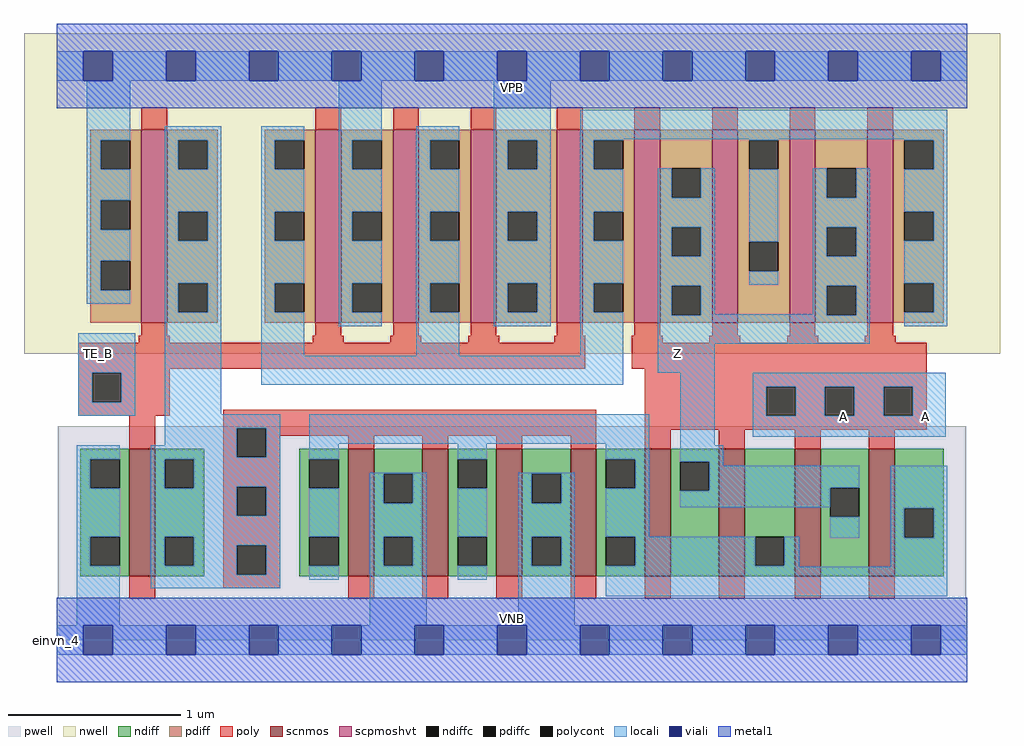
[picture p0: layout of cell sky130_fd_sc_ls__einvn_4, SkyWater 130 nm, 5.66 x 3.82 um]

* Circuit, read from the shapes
.subckt sky130_fd_sc_ls__einvn_4 A TE_B VGND VNB VPB VPWR Z
XM1 n1 TE_B VGND VNB sky130_fd_pr__nfet_01v8 w=0.74 l=0.15
XM2 VGND n1 n2 VNB sky130_fd_pr__nfet_01v8 w=0.74 l=0.15 m=4
XM3 Z A n2 VNB sky130_fd_pr__nfet_01v8 w=0.74 l=0.15 m=4
XM4 n1 TE_B VPWR VPB sky130_fd_pr__pfet_01v8_hvt w=1.12 l=0.15
XM5 VPWR TE_B n3 VPB sky130_fd_pr__pfet_01v8_hvt w=1.12 l=0.15 m=4
XM6 Z A n3 VPB sky130_fd_pr__pfet_01v8_hvt w=1.12 l=0.15 m=4
.ends

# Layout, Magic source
magic
tech sky130A
magscale 1 2
<< nwell >>
rect -38 332 1094 704
<< pwell >>
rect 1 49 1055 248
rect 0 0 1056 49
<< scnmos >>
rect 84 74 114 222
rect 338 74 368 222
rect 424 74 454 222
rect 510 74 540 222
rect 596 74 626 222
rect 682 74 712 222
rect 768 74 798 222
rect 856 74 886 222
rect 942 74 972 222
<< scpmoshvt >>
rect 98 368 128 592
rect 300 368 330 592
rect 390 368 420 592
rect 480 368 510 592
rect 580 368 610 592
rect 670 368 700 592
rect 760 368 790 592
rect 850 368 880 592
rect 940 368 970 592
<< ndiff >>
rect 27 210 84 222
rect 27 176 39 210
rect 73 176 84 210
rect 27 120 84 176
rect 27 86 39 120
rect 73 86 84 120
rect 27 74 84 86
rect 114 210 171 222
rect 114 176 125 210
rect 159 176 171 210
rect 114 120 171 176
rect 114 86 125 120
rect 159 86 171 120
rect 114 74 171 86
rect 281 210 338 222
rect 281 176 293 210
rect 327 176 338 210
rect 281 120 338 176
rect 281 86 293 120
rect 327 86 338 120
rect 281 74 338 86
rect 368 193 424 222
rect 368 159 379 193
rect 413 159 424 193
rect 368 120 424 159
rect 368 86 379 120
rect 413 86 424 120
rect 368 74 424 86
rect 454 210 510 222
rect 454 176 465 210
rect 499 176 510 210
rect 454 120 510 176
rect 454 86 465 120
rect 499 86 510 120
rect 454 74 510 86
rect 540 193 596 222
rect 540 159 551 193
rect 585 159 596 193
rect 540 120 596 159
rect 540 86 551 120
rect 585 86 596 120
rect 540 74 596 86
rect 626 210 682 222
rect 626 176 637 210
rect 671 176 682 210
rect 626 120 682 176
rect 626 86 637 120
rect 671 86 682 120
rect 626 74 682 86
rect 712 207 768 222
rect 712 173 723 207
rect 757 173 768 207
rect 712 74 768 173
rect 798 120 856 222
rect 798 86 810 120
rect 844 86 856 120
rect 798 74 856 86
rect 886 177 942 222
rect 886 143 897 177
rect 931 143 942 177
rect 886 74 942 143
rect 972 153 1029 222
rect 972 119 983 153
rect 1017 119 1029 153
rect 972 74 1029 119
<< pdiff >>
rect 39 580 98 592
rect 39 546 51 580
rect 85 546 98 580
rect 39 510 98 546
rect 39 476 51 510
rect 85 476 98 510
rect 39 440 98 476
rect 39 406 51 440
rect 85 406 98 440
rect 39 368 98 406
rect 128 580 187 592
rect 128 546 141 580
rect 175 546 187 580
rect 128 497 187 546
rect 128 463 141 497
rect 175 463 187 497
rect 128 414 187 463
rect 128 380 141 414
rect 175 380 187 414
rect 128 368 187 380
rect 241 580 300 592
rect 241 546 253 580
rect 287 546 300 580
rect 241 497 300 546
rect 241 463 253 497
rect 287 463 300 497
rect 241 414 300 463
rect 241 380 253 414
rect 287 380 300 414
rect 241 368 300 380
rect 330 580 390 592
rect 330 546 343 580
rect 377 546 390 580
rect 330 497 390 546
rect 330 463 343 497
rect 377 463 390 497
rect 330 414 390 463
rect 330 380 343 414
rect 377 380 390 414
rect 330 368 390 380
rect 420 580 480 592
rect 420 546 433 580
rect 467 546 480 580
rect 420 497 480 546
rect 420 463 433 497
rect 467 463 480 497
rect 420 414 480 463
rect 420 380 433 414
rect 467 380 480 414
rect 420 368 480 380
rect 510 580 580 592
rect 510 546 523 580
rect 557 546 580 580
rect 510 497 580 546
rect 510 463 523 497
rect 557 463 580 497
rect 510 414 580 463
rect 510 380 523 414
rect 557 380 580 414
rect 510 368 580 380
rect 610 580 670 592
rect 610 546 623 580
rect 657 546 670 580
rect 610 497 670 546
rect 610 463 623 497
rect 657 463 670 497
rect 610 414 670 463
rect 610 380 623 414
rect 657 380 670 414
rect 610 368 670 380
rect 700 547 760 592
rect 700 513 713 547
rect 747 513 760 547
rect 700 479 760 513
rect 700 445 713 479
rect 747 445 760 479
rect 700 411 760 445
rect 700 377 713 411
rect 747 377 760 411
rect 700 368 760 377
rect 790 580 850 592
rect 790 546 803 580
rect 837 546 850 580
rect 790 462 850 546
rect 790 428 803 462
rect 837 428 850 462
rect 790 368 850 428
rect 880 547 940 592
rect 880 513 893 547
rect 927 513 940 547
rect 880 479 940 513
rect 880 445 893 479
rect 927 445 940 479
rect 880 411 940 445
rect 880 377 893 411
rect 927 377 940 411
rect 880 368 940 377
rect 970 580 1029 592
rect 970 546 983 580
rect 1017 546 1029 580
rect 970 497 1029 546
rect 970 463 983 497
rect 1017 463 1029 497
rect 970 414 1029 463
rect 970 380 983 414
rect 1017 380 1029 414
rect 970 368 1029 380
<< ndiffc >>
rect 39 176 73 210
rect 39 86 73 120
rect 125 176 159 210
rect 125 86 159 120
rect 293 176 327 210
rect 293 86 327 120
rect 379 159 413 193
rect 379 86 413 120
rect 465 176 499 210
rect 465 86 499 120
rect 551 159 585 193
rect 551 86 585 120
rect 637 176 671 210
rect 637 86 671 120
rect 723 173 757 207
rect 810 86 844 120
rect 897 143 931 177
rect 983 119 1017 153
<< pdiffc >>
rect 51 546 85 580
rect 51 476 85 510
rect 51 406 85 440
rect 141 546 175 580
rect 141 463 175 497
rect 141 380 175 414
rect 253 546 287 580
rect 253 463 287 497
rect 253 380 287 414
rect 343 546 377 580
rect 343 463 377 497
rect 343 380 377 414
rect 433 546 467 580
rect 433 463 467 497
rect 433 380 467 414
rect 523 546 557 580
rect 523 463 557 497
rect 523 380 557 414
rect 623 546 657 580
rect 623 463 657 497
rect 623 380 657 414
rect 713 513 747 547
rect 713 445 747 479
rect 713 377 747 411
rect 803 546 837 580
rect 803 428 837 462
rect 893 513 927 547
rect 893 445 927 479
rect 893 377 927 411
rect 983 546 1017 580
rect 983 463 1017 497
rect 983 380 1017 414
<< poly >>
rect 98 592 128 618
rect 300 592 330 618
rect 390 592 420 618
rect 480 592 510 618
rect 580 592 610 618
rect 670 592 700 618
rect 760 592 790 618
rect 850 592 880 618
rect 940 592 970 618
rect 98 353 128 368
rect 300 353 330 368
rect 390 353 420 368
rect 480 353 510 368
rect 580 353 610 368
rect 670 353 700 368
rect 760 353 790 368
rect 850 353 880 368
rect 940 353 970 368
rect 95 345 131 353
rect 297 345 333 353
rect 387 345 423 353
rect 477 345 513 353
rect 577 345 613 353
rect 25 315 613 345
rect 667 345 703 353
rect 757 345 793 353
rect 847 345 883 353
rect 937 345 973 353
rect 667 315 1009 345
rect 25 310 131 315
rect 25 276 41 310
rect 75 276 131 310
rect 25 260 131 276
rect 682 294 1009 315
rect 84 222 114 260
rect 193 246 626 267
rect 193 212 209 246
rect 243 237 626 246
rect 243 212 259 237
rect 338 222 368 237
rect 424 222 454 237
rect 510 222 540 237
rect 596 222 626 237
rect 682 260 823 294
rect 857 260 891 294
rect 925 260 959 294
rect 993 260 1009 294
rect 682 244 1009 260
rect 682 222 712 244
rect 768 222 798 244
rect 856 222 886 244
rect 942 222 972 244
rect 193 178 259 212
rect 193 144 209 178
rect 243 144 259 178
rect 193 110 259 144
rect 193 76 209 110
rect 243 76 259 110
rect 84 48 114 74
rect 193 60 259 76
rect 338 48 368 74
rect 424 48 454 74
rect 510 48 540 74
rect 596 48 626 74
rect 682 48 712 74
rect 768 48 798 74
rect 856 48 886 74
rect 942 48 972 74
<< polycont >>
rect 41 276 75 310
rect 209 212 243 246
rect 823 260 857 294
rect 891 260 925 294
rect 959 260 993 294
rect 209 144 243 178
rect 209 76 243 110
<< locali >>
rect 0 649 31 683
rect 65 649 127 683
rect 161 649 223 683
rect 257 649 319 683
rect 353 649 415 683
rect 449 649 511 683
rect 545 649 607 683
rect 641 649 703 683
rect 737 649 799 683
rect 833 649 895 683
rect 929 649 991 683
rect 1025 649 1056 683
rect 35 580 85 649
rect 35 546 51 580
rect 35 510 85 546
rect 35 476 51 510
rect 35 440 85 476
rect 35 406 51 440
rect 35 390 85 406
rect 125 580 191 596
rect 125 546 141 580
rect 175 546 191 580
rect 125 497 191 546
rect 125 463 141 497
rect 175 463 191 497
rect 125 414 191 463
rect 125 380 141 414
rect 175 380 191 414
rect 25 310 91 356
rect 25 276 41 310
rect 75 276 91 310
rect 25 260 91 276
rect 125 262 191 380
rect 237 580 287 596
rect 237 546 253 580
rect 237 497 287 546
rect 237 463 253 497
rect 237 414 287 463
rect 237 380 253 414
rect 237 330 287 380
rect 327 580 377 649
rect 327 546 343 580
rect 327 497 377 546
rect 327 463 343 497
rect 327 414 377 463
rect 327 380 343 414
rect 327 364 377 380
rect 417 580 467 596
rect 417 546 433 580
rect 417 497 467 546
rect 417 463 433 497
rect 417 414 467 463
rect 417 380 433 414
rect 417 330 467 380
rect 507 580 573 649
rect 507 546 523 580
rect 557 546 573 580
rect 507 497 573 546
rect 507 463 523 497
rect 557 463 573 497
rect 507 414 573 463
rect 507 380 523 414
rect 557 380 573 414
rect 507 364 573 380
rect 607 581 1033 615
rect 607 580 657 581
rect 607 546 623 580
rect 803 580 837 581
rect 607 497 657 546
rect 607 463 623 497
rect 607 414 657 463
rect 607 380 623 414
rect 607 330 657 380
rect 237 296 657 330
rect 697 513 713 547
rect 747 513 763 547
rect 697 479 763 513
rect 697 445 713 479
rect 747 445 763 479
rect 697 411 763 445
rect 983 580 1033 581
rect 803 462 837 546
rect 803 412 837 428
rect 877 513 893 547
rect 927 513 943 547
rect 877 479 943 513
rect 877 445 893 479
rect 927 445 943 479
rect 697 377 713 411
rect 747 378 763 411
rect 877 411 943 445
rect 877 378 893 411
rect 747 377 893 378
rect 927 377 943 411
rect 697 344 943 377
rect 1017 546 1033 580
rect 983 497 1033 546
rect 1017 463 1033 497
rect 983 414 1033 463
rect 1017 380 1033 414
rect 983 364 1033 380
rect 697 310 763 344
rect 125 246 259 262
rect 125 226 209 246
rect 23 210 73 226
rect 23 176 39 210
rect 23 120 73 176
rect 23 86 39 120
rect 23 17 73 86
rect 109 212 209 226
rect 243 212 259 246
rect 109 210 259 212
rect 109 176 125 210
rect 159 178 259 210
rect 159 176 209 178
rect 109 144 209 176
rect 243 144 259 178
rect 109 120 259 144
rect 109 86 125 120
rect 159 110 259 120
rect 159 86 209 110
rect 109 76 209 86
rect 243 76 259 110
rect 109 60 259 76
rect 293 228 687 262
rect 293 210 327 228
rect 465 210 499 228
rect 293 120 327 176
rect 293 70 327 86
rect 363 193 429 194
rect 363 159 379 193
rect 413 159 429 193
rect 363 120 429 159
rect 363 86 379 120
rect 413 86 429 120
rect 363 17 429 86
rect 637 210 687 228
rect 465 120 499 176
rect 465 70 499 86
rect 535 193 601 194
rect 535 159 551 193
rect 585 159 601 193
rect 535 120 601 159
rect 535 86 551 120
rect 585 86 601 120
rect 535 17 601 86
rect 671 176 687 210
rect 637 120 687 176
rect 723 226 763 310
rect 807 294 1031 310
rect 807 260 823 294
rect 857 260 891 294
rect 925 260 959 294
rect 993 260 1031 294
rect 807 236 1031 260
rect 723 207 773 226
rect 757 202 773 207
rect 757 177 931 202
rect 757 173 897 177
rect 723 154 897 173
rect 671 86 810 120
rect 844 86 861 120
rect 897 119 931 143
rect 967 153 1033 202
rect 967 119 983 153
rect 1017 119 1033 153
rect 637 85 861 86
rect 967 85 1033 119
rect 637 51 1033 85
rect 0 -17 31 17
rect 65 -17 127 17
rect 161 -17 223 17
rect 257 -17 319 17
rect 353 -17 415 17
rect 449 -17 511 17
rect 545 -17 607 17
rect 641 -17 703 17
rect 737 -17 799 17
rect 833 -17 895 17
rect 929 -17 991 17
rect 1025 -17 1056 17
<< viali >>
rect 31 649 65 683
rect 127 649 161 683
rect 223 649 257 683
rect 319 649 353 683
rect 415 649 449 683
rect 511 649 545 683
rect 607 649 641 683
rect 703 649 737 683
rect 799 649 833 683
rect 895 649 929 683
rect 991 649 1025 683
rect 31 -17 65 17
rect 127 -17 161 17
rect 223 -17 257 17
rect 319 -17 353 17
rect 415 -17 449 17
rect 511 -17 545 17
rect 607 -17 641 17
rect 703 -17 737 17
rect 799 -17 833 17
rect 895 -17 929 17
rect 991 -17 1025 17
<< metal1 >>
rect 0 683 1056 715
rect 0 649 31 683
rect 65 649 127 683
rect 161 649 223 683
rect 257 649 319 683
rect 353 649 415 683
rect 449 649 511 683
rect 545 649 607 683
rect 641 649 703 683
rect 737 649 799 683
rect 833 649 895 683
rect 929 649 991 683
rect 1025 649 1056 683
rect 0 617 1056 649
rect 0 17 1056 49
rect 0 -17 31 17
rect 65 -17 127 17
rect 161 -17 223 17
rect 257 -17 319 17
rect 353 -17 415 17
rect 449 -17 511 17
rect 545 -17 607 17
rect 641 -17 703 17
rect 737 -17 799 17
rect 833 -17 895 17
rect 929 -17 991 17
rect 1025 -17 1056 17
rect 0 -49 1056 -17
<< labels >>
rlabel comment s 0 0 0 0 4 einvn_4
flabel pwell s 0 0 1056 49 0 FreeSans 200 0 0 0 VNB
port 4 nsew ground bidirectional
flabel nwell s 0 617 1056 666 0 FreeSans 200 0 0 0 VPB
port 5 nsew power bidirectional
flabel metal1 s 0 617 1056 666 0 FreeSans 340 0 0 0 VPWR
port 6 nsew power bidirectional abutment
flabel metal1 s 0 0 1056 49 0 FreeSans 340 0 0 0 VGND
port 3 nsew ground bidirectional abutment
flabel locali s 31 316 65 350 0 FreeSans 340 0 0 0 TE_B
port 2 nsew signal input
flabel locali s 895 242 929 276 0 FreeSans 340 0 0 0 A
port 1 nsew signal input
flabel locali s 991 242 1025 276 0 FreeSans 340 0 0 0 A
port 1 nsew signal input
flabel locali s 703 316 737 350 0 FreeSans 340 0 0 0 Z
port 7 nsew signal output
<< properties >>
string LEFsite unit
string LEFclass CORE
string FIXED_BBOX 0 0 1056 666
string GDS_FILE $PDKPATH/libs.ref/sky130_fd_sc_ls/gds/sky130_fd_sc_ls.gds
string LEFsymmetry X Y
string GDS_END 2766280
string GDS_START 2757120
<< end >>
